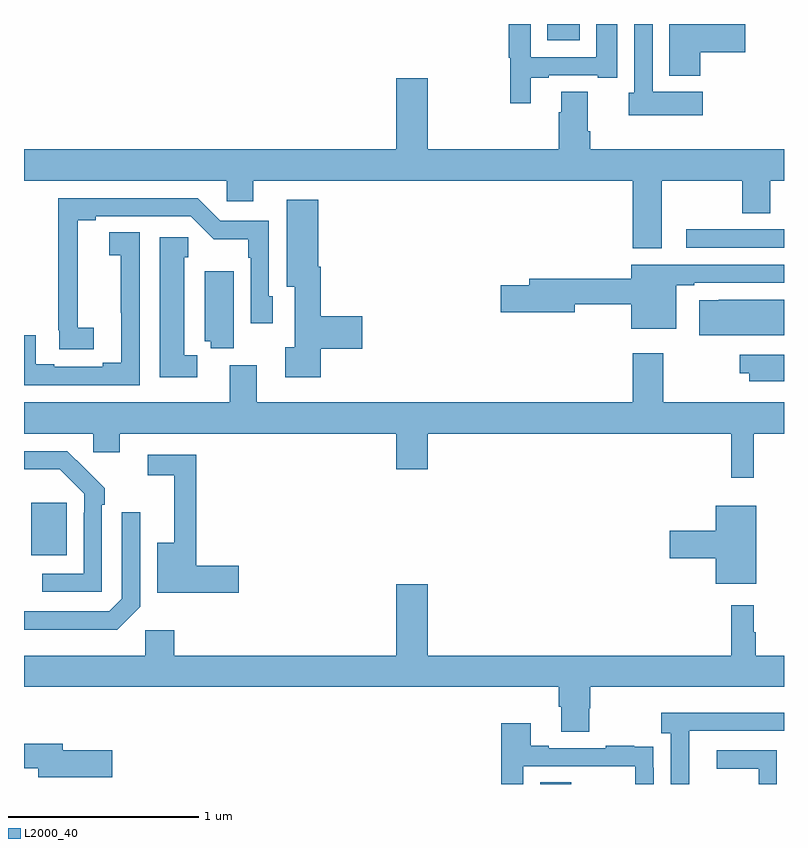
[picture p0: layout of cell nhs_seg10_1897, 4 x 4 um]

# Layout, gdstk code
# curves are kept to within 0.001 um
import gdstk
lib = gdstk.Library(unit=1e-6, precision=1e-09)
def R(c, l, rs):  # rectangles x0, y0, x1, y1
    for r in rs: c.add(gdstk.rectangle(r[:2], r[2:], *l))
def P(c, l, *ps):  # polygons
    for p in ps: c.add(gdstk.Polygon(p, *l))
L2000_40 = (2000, 40)

nhs_seg10_1897 = lib.new_cell('nhs_seg10_1897')
R(nhs_seg10_1897, L2000_40, [(213.716,1270.5,213.88,1270.508), (211.037,1271.705,211.225,1271.98), (214.485,1273.323,215,1273.419), (213.755,1274.414,213.925,1274.5)])
P(nhs_seg10_1897, L2000_40, [(213.667,1274.217),(213.763,1274.217),(213.763,1274.229),(214.019,1274.229),(214.019,1274.217),(214.123,1274.217),(214.123,1274.5),(214.013,1274.5),(214.013,1274.325),(213.666,1274.325),(213.666,1274.5),(213.55,1274.5),(213.55,1274.322),(213.558,1274.322),(213.558,1274.082),(213.667,1274.082)],
  [(214.573,1274.143),(214.308,1274.143),(214.308,1274.5),(214.212,1274.5),(214.212,1274.139),(214.184,1274.139),(214.184,1274.021),(214.573,1274.021)],
  [(214.559,1274.351),(214.795,1274.351),(214.795,1274.498),(214.559,1274.498),(214.559,1274.5),(214.397,1274.5),(214.397,1274.228),(214.559,1274.228)],
  [(214.357,1273.676),(214.78,1273.676),(214.78,1273.504),(214.927,1273.504),(214.927,1273.676),(215,1273.676),(215,1273.84),(213.98,1273.84),(213.98,1273.936),(213.967,1273.936),(213.967,1274.144),(213.827,1274.144),(213.827,1274.036),(213.815,1274.036),(213.815,1273.84),(213.124,1273.84),(213.124,1274.215),(212.96,1274.215),(212.96,1273.84),(211,1273.84),(211,1273.676),(212.067,1273.676),(212.067,1273.566),(212.206,1273.566),(212.206,1273.676),(214.205,1273.676),(214.205,1273.319),(214.357,1273.319)],
  [(211.366,1272.902),(211.284,1272.902),(211.282,1273.468),(211.378,1273.468),(211.378,1273.488),(211.878,1273.488),(211.999,1273.367),(212.181,1273.367),(212.181,1273.271),(212.193,1273.271),(212.193,1272.924),(212.31,1272.924),(212.31,1273.068),(212.289,1273.068),(212.289,1273.464),(212.034,1273.464),(211.914,1273.584),(211.18,1273.584),(211.18,1272.889),(211.186,1272.889),(211.186,1272.787),(211.366,1272.787)],
  [(212.561,1272.791),(212.779,1272.791),(212.779,1272.962),(212.561,1272.962),(212.561,1273.222),(212.548,1273.222),(212.548,1273.576),(212.384,1273.576),(212.384,1273.118),(212.426,1273.118),(212.426,1272.798),(212.376,1272.798),(212.376,1272.642),(212.561,1272.642)],
  [(211.608,1273.403),(211.449,1273.403),(211.449,1273.283),(211.51,1273.283),(211.51,1272.979),(211.511,1272.979),(211.511,1272.716),(211.415,1272.716),(211.415,1272.696),(211.159,1272.696),(211.159,1272.71),(211.062,1272.71),(211.062,1272.863),(211,1272.863),(211,1272.6),(211.608,1272.6)],
  [(211.912,1272.756),(211.843,1272.756),(211.843,1273.272),(211.865,1273.272),(211.865,1273.378),(211.715,1273.378),(211.715,1272.641),(211.912,1272.641)],
  [(214.432,1273.124),(214.528,1273.124),(214.528,1273.137),(215,1273.137),(215,1273.233),(214.196,1273.233),(214.196,1273.16),(213.659,1273.16),(213.659,1273.124),(213.51,1273.124),(213.51,1272.982),(213.898,1272.982),(213.898,1273.024),(214.196,1273.024),(214.196,1272.896),(214.432,1272.896)],
  [(212.104,1273.198),(211.952,1273.198),(211.952,1272.83),(211.984,1272.83),(211.984,1272.793),(212.104,1272.793)],
  [(215,1273.048),(214.657,1273.048),(214.657,1273.047),(214.554,1273.047),(214.554,1272.863),(215,1272.863)],
  [(214.841,1272.344),(215,1272.344),(215,1272.508),(214.365,1272.508),(214.365,1272.766),(214.205,1272.766),(214.205,1272.508),(212.224,1272.508),(212.224,1272.703),(212.084,1272.703),(212.084,1272.508),(211,1272.508),(211,1272.344),(211.365,1272.344),(211.365,1272.246),(211.504,1272.246),(211.504,1272.344),(212.96,1272.344),(212.96,1272.156),(213.124,1272.156),(213.124,1272.344),(214.723,1272.344),(214.723,1272.111),(214.841,1272.111)],
  [(215,1272.759),(214.767,1272.759),(214.767,1272.662),(214.817,1272.662),(214.817,1272.62),(215,1272.62)],
  [(211.41,1271.969),(211.425,1271.969),(211.425,1272.057),(211.228,1272.252),(211,1272.252),(211,1272.156),(211.189,1272.156),(211.317,1272.027),(211.317,1271.927),(211.314,1271.927),(211.314,1271.607),(211.095,1271.607),(211.095,1271.511),(211.41,1271.511)],
  [(212.131,1271.648),(211.907,1271.648),(211.907,1272.234),(211.65,1272.234),(211.65,1272.126),(211.79,1272.126),(211.79,1271.77),(211.7,1271.77),(211.7,1271.506),(212.131,1271.506)],
  [(214.855,1271.965),(214.64,1271.965),(214.64,1271.834),(214.398,1271.834),(214.398,1271.687),(214.64,1271.687),(214.64,1271.555),(214.855,1271.555)],
  [(211.611,1271.433),(211.611,1271.929),(211.515,1271.929),(211.515,1271.475),(211.449,1271.409),(211,1271.409),(211,1271.312),(211.49,1271.312)],
  [(213.975,1270.899),(213.98,1270.899),(213.98,1271.012),(215,1271.012),(215,1271.176),(214.852,1271.176),(214.852,1271.3),(214.84,1271.3),(214.84,1271.44),(214.723,1271.44),(214.723,1271.176),(213.124,1271.176),(213.124,1271.551),(212.96,1271.551),(212.96,1271.176),(211.79,1271.176),(211.79,1271.308),(211.638,1271.308),(211.638,1271.176),(211,1271.176),(211,1271.012),(213.815,1271.012),(213.815,1270.906),(213.827,1270.906),(213.827,1270.774),(213.975,1270.774)],
  [(214.5,1270.579),(214.501,1270.579),(214.501,1270.779),(215,1270.779),(215,1270.876),(214.353,1270.876),(214.353,1270.766),(214.404,1270.766),(214.404,1270.5),(214.5,1270.5)],
  [(213.627,1270.593),(214.218,1270.593),(214.218,1270.5),(214.314,1270.5),(214.314,1270.586),(214.313,1270.586),(214.313,1270.695),(214.211,1270.695),(214.211,1270.702),(214.063,1270.702),(214.063,1270.689),(213.763,1270.689),(213.763,1270.702),(213.667,1270.702),(213.667,1270.819),(213.511,1270.819),(213.511,1270.5),(213.627,1270.5)],
  [(211.465,1270.677),(211.204,1270.677),(211.204,1270.711),(211,1270.711),(211,1270.582),(211.076,1270.582),(211.076,1270.535),(211.465,1270.535)],
  [(214.962,1270.677),(214.647,1270.677),(214.647,1270.581),(214.866,1270.581),(214.866,1270.5),(214.962,1270.5)])

lib.write_gds('nhs_seg10_1897.gds')
